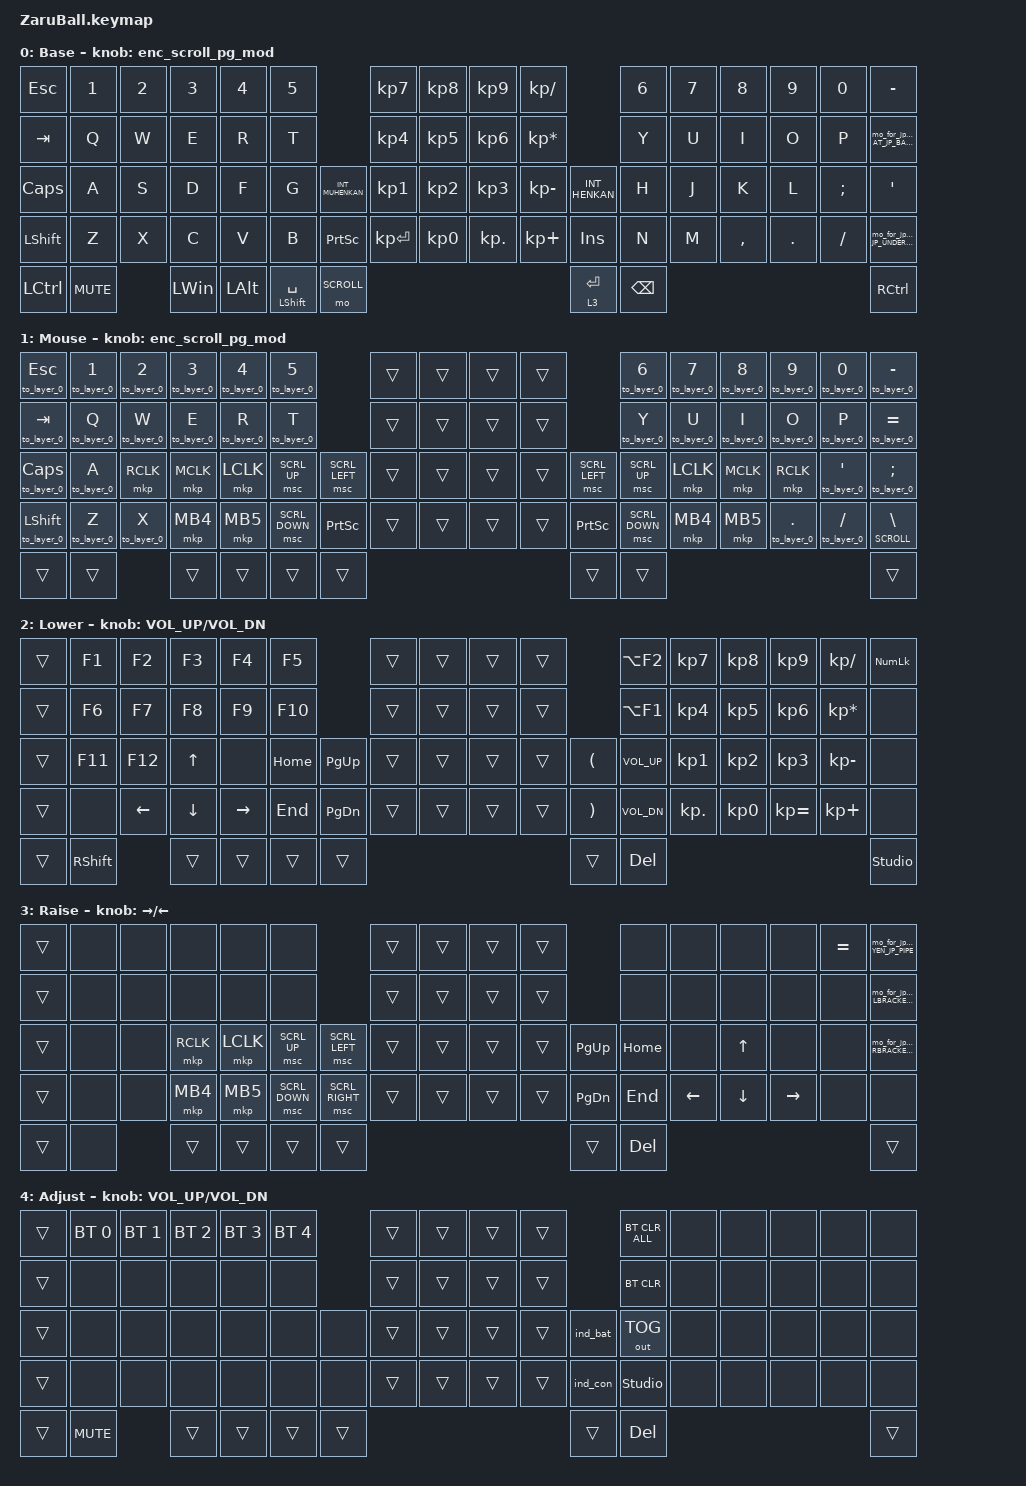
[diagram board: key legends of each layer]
//#include <dt-bindings/zmk/mouse.h>

#include <behaviors/rgbled_widget.dtsi>
#include <input/processors.dtsi>
#include <dt-bindings/zmk/input_transform.h>
#include <behaviors.dtsi>
#include <dt-bindings/zmk/bt.h>
#include <dt-bindings/zmk/keys.h>
#include <dt-bindings/zmk/outputs.h>
#include <dt-bindings/zmk/pointing.h>

#define BASE     0
#define MOUSE    1
#define LOWER    2
#define RAISE    3
#define ADJUST   4
#define SCROLL   2

// https://note.com/kloir_z/n/n314e739f03a1よりコピペ
// OS設定を日本語キーボードのまま使用するための変換定義

#define JP_DQUOTE       AT                // "
#define JP_AMPERSAND    CARET             // &
#define JP_QUOTE        AMPERSAND         // '
#define JP_EQUAL        UNDER             // =
#define JP_CARET        EQUAL             // ^
#define JP_YEN          INT_YEN           // ¥
#define JP_PLUS         COLON             // +
#define JP_TILDE        PLUS              // ~
#define JP_PIPE         LS(INT_YEN)       // |
#define JP_AT           LEFT_BRACKET      // @
#define JP_COLON        SINGLE_QUOTE      // :
#define JP_ASTERISK     DOUBLE_QUOTES     // *
#define JP_BACKQUOTE    LEFT_BRACE        // `
#define JP_UNDERSCORE   UNDERSCORE        // _
#define JP_LBRACKET     RIGHT_BRACKET     // [
#define JP_RBRACKET     BACKSLASH         // ]
#define JP_LPAREN       ASTERISK          // (
#define JP_RPAREN       LEFT_PARENTHESIS  // )
#define JP_LBRACE       RIGHT_BRACE       // {
#define JP_RBRACE       PIPE              // }
#define JP_KANA         LANGUAGE_1        // かな
#define JP_EISU         LANGUAGE_2        // 英数
#define JP_HANZEN       GRAVE             // 半角/全角

// コピペここまで
// スクロール量の設定

#define ZMK_POINTING_DEFAULT_SCRL_VAL 100

&trackball_listener {
    input-processors = <
                         &zip_xy_transform (INPUT_TRANSFORM_XY_SWAP | INPUT_TRANSFORM_Y_INVERT | INPUT_TRANSFORM_X_INVERT)
                         &zip_xy_scaler 2 1
                         &zip_temp_layer MOUSE 500
    >;

    scroller {
        layers = <SCROLL>;
        input-processors = <
                            &zip_xy_transform (INPUT_TRANSFORM_XY_SWAP | INPUT_TRANSFORM_X_INVERT)
                            &zip_xy_scaler 1 20
                            &zip_xy_to_scroll_mapper
        >;
    };
};

/ {
    conditional_layers {
        compatible = "zmk,conditional-layers";

        tri_layer {
            if-layers = <2 3>;
            then-layer = <4>;
        };
    };
};

/ {
    behaviors {
        // スクロール用のbehaviorの設定

        scroll_down_up: behavior_sensor_rotate_mouse_wheel_down_up {
            compatible = "zmk,behavior-sensor-rotate";
            #sensor-binding-cells = <0>;
            bindings = <&msc SCRL_DOWN>, <&msc SCRL_UP>;

            tap-ms = <20>; // スクロールのタップ時間
        };

        td0: tap_dance_0 {
            compatible = "zmk,behavior-tap-dance";
            #binding-cells = <0>;
            tapping-term-ms = <200>;
            bindings = <&mt LALT LANG2>, <&mo RAISE>, <&mo MOUSE>;
        };

        td1: tap_dance_1 {
            compatible = "zmk,behavior-tap-dance";
            #binding-cells = <0>;
            tapping-term-ms = <200>;
            bindings = <&mt RCTL LANG1>, <&mo RAISE>, <&mo MOUSE>;
        };

        // Customed Hold-Tap for SandS

        SandS: SandS {
            compatible = "zmk,behavior-hold-tap";
            #binding-cells = <2>;
            flavor = "tap-unless-interrupted";
            tapping-term-ms = <500>;
            quick-tap-ms = <500>;
            bindings = <&kp>, <&kp>;

            display-name = "SandS";
        };

        td_LCTL_LCTL_LY2_LY5: tap_dance_LCTL_LCTL_LY2_LY5 {
            compatible = "zmk,behavior-tap-dance";
            #binding-cells = <0>;
            tapping-term-ms = <200>;
            bindings = <&mt LCTRL LCTRL>, <&mo RAISE>, <&mo 5>;

            label = "TAP_DANCE_LCTL_LCTL_LY2_LY45";
        };

        td_RCTL_RCTL_LY2_LY4: tap_dance_RCTL_.RCTL_LY2_LY4 {
            compatible = "zmk,behavior-tap-dance";
            #binding-cells = <0>;
            tapping-term-ms = <200>;
            bindings = <&mt RCTRL RCTRL>, <&mo RAISE>, <&mo MOUSE>;

            label = "TAP_DANCE_RCTL_RCTL_LY2_LY4";
        };

        mo_for_jp__JP_AT_JP_BACKQUOTE: mod-morph-for-jp--jp-at-jp-backquote {
            compatible = "zmk,behavior-mod-morph";
            #binding-cells = <0>;
            bindings = <&kp LEFT_BRACKET>, <&kp LEFT_BRACE>;

            mods = <(MOD_LSFT|MOD_RSFT)>;
            label = "MOD-MORPH_for_jp__JP_AT-JP_BACKQUOTE";
        };

        mo_for_jp__JP_YEN_JP_PIPE: mod-morph-for-jp--jp-yen-jp-pipe {
            compatible = "zmk,behavior-mod-morph";
            #binding-cells = <0>;
            bindings = <&kp INT_YEN>, <&kp LS(INT_YEN)>;

            mods = <(MOD_LSFT|MOD_RSFT)>;
            label = "MOD-MORPH_for_jp__JP_YEN-JP_PIPE";
        };

        mo_for_jp__JP_LBRACKET_JP_LBRACE: mod-morph-for-jp--jp-lbracket-jp-lbrace {
            compatible = "zmk,behavior-mod-morph";
            #binding-cells = <0>;
            bindings = <&kp RIGHT_BRACKET>, <&kp RIGHT_BRACE>;

            mods = <(MOD_LSFT|MOD_RSFT)>;
            label = "MOD-MORPH_for_jp__JP_LBRACKET-JP_LBRACE";
        };

        mo_for_jp__JP_RBRACKET_JP_RBRACE: mod-morph-for-jp--jp-rbracket-jp-rbrace {
            compatible = "zmk,behavior-mod-morph";
            #binding-cells = <0>;
            bindings = <&kp BACKSLASH>, <&kp PIPE>;

            mods = <(MOD_LSFT|MOD_RSFT)>;
            label = "MOD-MORPH_for_jp__JP_RBRACKET-JP_RBRACE";
        };

        mo_for_jp__JP_YEN_JP_UNDERSCORE: mo-for-jp--jp-yen-jp-underscore {
            compatible = "zmk,behavior-mod-morph";
            #binding-cells = <0>;
            bindings = <&kp INT_YEN>, <&kp INT_RO>;

            mods = <(MOD_LSFT|MOD_RSFT)>;
            keep-mods = <(MOD_LSFT|MOD_RSFT)>;
            label = "MOD-MORPH_for_jp__JP_YEN-JP_UNDERSCORE";
        };

        // ----- ノブ回転 -----
        // 正方向（CW: 上方向）の処理チェーン
        // Ctrl + ノブ回転 → Ctrl+PageUp

        enc_cw_ctrl: encoder-cw-ctrl {
            compatible = "zmk,behavior-mod-morph";
            #binding-cells = <0>;

            // デフォルト: スクロールアップ
            // Ctrl 押しながら回転: Ctrl + PageUp

            bindings = <&msc SCRL_UP>, <&kp LC(PG_UP)>;

            mods = <(MOD_LCTL | MOD_RCTL)>;
        };

        // Alt + ノブ回転 → Alt+Tab

        enc_cw_alt: encoder-cw-alt {
            compatible = "zmk,behavior-mod-morph";
            #binding-cells = <0>;

            // 通常: enc_cw_ctrl（スクロール or Ctrl+PgUp）
            // Alt 押しながら: Alt+Tab

            bindings = <&enc_cw_ctrl>, <&kp LA(TAB)>;

            mods = <(MOD_LALT | MOD_RALT)>;
            keep-mods = <(MOD_LALT | MOD_RALT)>;
        };

        // Win + ノブ回転 → Win+Ctrl+→ / Win+Ctrl+←
        enc_cw_gui: encoder-cw-gui {
            compatible = "zmk,behavior-mod-morph";
            #binding-cells = <0>;
            // 通常: enc_cw_alt（スクロール / Ctrl+PgUp / Alt+Tab）
            // Win 押しながら: Win+Ctrl+→
            bindings = <&enc_cw_alt>, <&kp LG(LC(RIGHT))>;
            mods = <(MOD_LGUI | MOD_RGUI)>;
            keep-mods = <(MOD_LGUI | MOD_RGUI)>;
        };

        // 負方向（CCW: 下方向）の処理チェーン
        // Ctrl + ノブ回転 → Ctrl+PageDown

        enc_ccw_ctrl: encoder-ccw-ctrl {
            compatible = "zmk,behavior-mod-morph";
            #binding-cells = <0>;

            // デフォルト: スクロールダウン
            // Ctrl 押しながら回転: Ctrl + PageDown

            bindings = <&msc SCRL_DOWN>, <&kp LC(PG_DN)>;

            mods = <(MOD_LCTL | MOD_RCTL)>;
        };

        // Alt + ノブ回転 → Alt+Shift+Tab

        enc_ccw_alt: encoder-ccw-alt {
            compatible = "zmk,behavior-mod-morph";
            #binding-cells = <0>;

            // 通常: enc_ccw_ctrl（スクロール or Ctrl+PgDn）
            // Alt 押しながら: Alt+Shift+Tab

            bindings = <&enc_ccw_ctrl>, <&kp LA(LS(TAB))>;

            mods = <(MOD_LALT | MOD_RALT)>;
            keep-mods = <(MOD_LALT | MOD_RALT)>;
        };

        // Win + ノブ回転 → Win+Ctrl+←
        enc_ccw_gui: encoder-ccw-gui {
            compatible = "zmk,behavior-mod-morph";
            #binding-cells = <0>;
            // 通常: enc_ccw_alt（スクロール / Ctrl+PgDn / Alt+Shift+Tab）
            // Win 押しながら: Win+Ctrl+←
            bindings = <&enc_ccw_alt>, <&kp LG(LC(LEFT))>;
            mods = <(MOD_LGUI | MOD_RGUI)>;
            keep-mods = <(MOD_LGUI | MOD_RGUI)>;
        };

        // エンコーダ本体に割り当てる behavior-sensor-rotate　
        enc_scroll_pg_mod: encoder-scroll-pg-mod {
            compatible = "zmk,behavior-sensor-rotate";
            #sensor-binding-cells = <0>;

            // CCW（左回し）→ enc_ccw_gui,  CW（右回し）→ enc_cw_gui
            bindings = <&enc_ccw_gui>,<&enc_cw_gui>;
            tap-ms = <20>;
        };
    };
};

&sl { release-after-ms = <250>; }; // time needed for double click (for mkp_exit_AML)
/ {
    macros {
        // When in AML, move to default layer when key (except mouse button) pressed

        to_layer_0: to_layer_0 {
            compatible = "zmk,behavior-macro-one-param";
            #binding-cells = <1>;
            bindings = <&tog MOUSE &macro_param_1to1 &kp MACRO_PLACEHOLDER>;
            label = "TO_layer_0";
        };

        // When LCLK pressed, exit AML (after 250ms cause by sticky layer

        mkp_exit_AML: mkp_exit_AML {
            compatible = "zmk,behavior-macro-one-param";
            #binding-cells = <1>;
            bindings =
                <&macro_press>,
                <&macro_param_1to1 &mkp MACRO_PLACEHOLDER>,
                <&macro_pause_for_release>,
                <&macro_release>,
                <&macro_param_1to1 &mkp MACRO_PLACEHOLDER>,
                <&macro_tap>,
                <&sl MOUSE>;

            label = "MKP_EXIT_AML";
        };
    };
};

/ {
    combos {
        compatible = "zmk,combos";

        toADJUST_LAYER {
            bindings = <&mo 4>;
            key-positions = <70 73>;
        };

        toMOUSE_LAYER {
            bindings = <&mo 1>;
            key-positions = <73 74>;
        };
    };

    keymap {
        compatible = "zmk,keymap";

        base_layer {
            display-name = "Base";
            sensor-bindings = <&enc_scroll_pg_mod>;
            bindings = <
&kp ESC    &kp N1      &kp N2  &kp N3    &kp N4        &kp N5                                  &kp KP_N7     &kp KP_N8  &kp KP_N9   &kp KP_DIVIDE                      &kp NUMBER_6  &kp N7  &kp N8     &kp N9   &kp N0    &kp MINUS
&kp TAB    &kp Q       &kp W   &kp E     &kp R         &kp T                                   &kp KP_N4     &kp KP_N5  &kp KP_N6   &kp KP_MULTIPLY                    &kp Y         &kp U   &kp I      &kp O    &kp P     &mo_for_jp__JP_AT_JP_BACKQUOTE
&kp CAPS   &kp A       &kp S   &kp D     &kp F         &kp G               &kp INT_MUHENKAN    &kp KP_N1     &kp KP_N2  &kp KP_N3   &kp KP_MINUS       &kp INT_HENKAN  &kp H         &kp J   &kp K      &kp L    &kp SEMI  &kp SQT
&kp LSHFT  &kp Z       &kp X   &kp C     &kp V         &kp B               &kp PRINTSCREEN     &kp KP_ENTER  &kp KP_N0  &kp KP_DOT  &kp KP_PLUS        &kp INSERT      &kp N         &kp M   &kp COMMA  &kp DOT  &kp FSLH  &mo_for_jp__JP_YEN_JP_UNDERSCORE
&kp LCTRL  &kp C_MUTE          &kp LWIN  &kp LEFT_ALT  &SandS LSHFT SPACE  &mo SCROLL                                                                  &lt 3 RET       &kp BSPC                                            &kp RCTRL
            >;
        };

        mouse_layer {
            display-name = "Mouse";
            sensor-bindings = <&enc_scroll_pg_mod>;
            bindings = <
&to_layer_0 ESC     &to_layer_0 N1  &to_layer_0 N2  &to_layer_0 N3  &to_layer_0 N4  &to_layer_0 N5                     &trans  &trans  &trans  &trans                     &to_layer_0 N6  &to_layer_0 N7  &to_layer_0 N8  &to_layer_0 N9      &to_layer_0 N0            &to_layer_0 MINUS
&to_layer_0 TAB     &to_layer_0 Q   &to_layer_0 W   &to_layer_0 E   &to_layer_0 R   &to_layer_0 T                      &trans  &trans  &trans  &trans                     &to_layer_0 Y   &to_layer_0 U   &to_layer_0 I   &to_layer_0 O       &to_layer_0 P             &to_layer_0 EQUAL
&to_layer_0 CAPS    &to_layer_0 A   &mkp RCLK       &mkp MCLK       &mkp LCLK       &msc SCRL_UP    &msc SCRL_LEFT     &trans  &trans  &trans  &trans    &msc SCRL_LEFT   &msc SCRL_UP    &mkp LCLK       &mkp MCLK       &mkp RCLK           &to_layer_0 SINGLE_QUOTE  &to_layer_0 SEMICOLON
&to_layer_0 LSHIFT  &to_layer_0 Z   &to_layer_0 X   &mkp MB4        &mkp MB5        &msc SCRL_DOWN  &kp PRINTSCREEN    &trans  &trans  &trans  &trans    &kp PRINTSCREEN  &msc SCRL_DOWN  &mkp MB4        &mkp MB5        &to_layer_0 PERIOD  &to_layer_0 SLASH         &lt SCROLL BACKSLASH
&trans              &trans                          &trans          &trans          &trans          &trans                                               &trans           &trans                                                                                        &trans
            >;
        };

        lower_layer {
            display-name = "Lower";
            sensor-bindings = <&inc_dec_kp C_VOL_UP C_VOL_DN>;
            bindings = <
&trans  &kp F1     &kp F2    &kp F3    &kp F4     &kp F5                 &trans  &trans  &trans  &trans              &kp LA(F2)    &kp KP_N7   &kp KP_N8  &kp KP_N9     &kp KP_SLASH     &kp KP_NUMLOCK
&trans  &kp F6     &kp F7    &kp F8    &kp F9     &kp F10                &trans  &trans  &trans  &trans              &kp LA(F1)    &kp KP_N4   &kp KP_N5  &kp KP_N6     &kp KP_MULTIPLY  &none
&trans  &kp F11    &kp F12   &kp UP    &none      &kp HOME  &kp PG_UP    &trans  &trans  &trans  &trans    &kp LPAR  &kp C_VOL_UP  &kp KP_N1   &kp KP_N2  &kp KP_N3     &kp KP_MINUS     &none
&trans  &none      &kp LEFT  &kp DOWN  &kp RIGHT  &kp END   &kp PG_DN    &trans  &trans  &trans  &trans    &kp RPAR  &kp C_VOL_DN  &kp KP_DOT  &kp KP_N0  &kp KP_EQUAL  &kp KP_PLUS      &none
&trans  &kp RSHFT            &trans    &trans     &trans    &trans                                         &trans    &kp DEL                                                             &studio_unlock
            >;
        };

        raise_layer {
            display-name = "Raise";
            sensor-bindings = <&inc_dec_kp RIGHT LEFT>;
            bindings = <
&trans  &none  &none  &none      &none      &none                              &trans  &trans  &trans  &trans               &none     &none     &none     &none      &kp EQUAL  &mo_for_jp__JP_YEN_JP_PIPE
&trans  &none  &none  &none      &none      &none                              &trans  &trans  &trans  &trans               &none     &none     &none     &none      &none      &mo_for_jp__JP_LBRACKET_JP_LBRACE
&trans  &none  &none  &mkp RCLK  &mkp LCLK  &msc SCRL_UP    &msc SCRL_LEFT     &trans  &trans  &trans  &trans    &kp PG_UP  &kp HOME  &none     &kp UP    &none      &none      &mo_for_jp__JP_RBRACKET_JP_RBRACE
&trans  &none  &none  &mkp MB4   &mkp MB5   &msc SCRL_DOWN  &msc SCRL_RIGHT    &trans  &trans  &trans  &trans    &kp PG_DN  &kp END   &kp LEFT  &kp DOWN  &kp RIGHT  &none      &none
&trans  &none         &trans     &trans     &trans          &trans                                               &trans     &kp DEL                                             &trans
            >;
        };

        adjust_layer {
            display-name = "Adjust";
            sensor-bindings = <&inc_dec_kp C_VOL_UP C_VOL_DN>;
            bindings = <
&trans  &bt BT_SEL 0  &bt BT_SEL 1  &bt BT_SEL 2  &bt BT_SEL 3  &bt BT_SEL 4            &trans  &trans  &trans  &trans              &bt BT_CLR_ALL  &none  &none  &none  &none  &none
&trans  &none         &none         &none         &none         &none                   &trans  &trans  &trans  &trans              &bt BT_CLR      &none  &none  &none  &none  &none
&trans  &none         &none         &none         &none         &none         &none     &trans  &trans  &trans  &trans    &ind_bat  &out OUT_TOG    &none  &none  &none  &none  &none
&trans  &none         &none         &none         &none         &none         &none     &trans  &trans  &trans  &trans    &ind_con  &studio_unlock  &none  &none  &none  &none  &none
&trans  &kp C_MUTE                  &trans        &trans        &trans        &trans                                      &trans    &kp DEL                                     &trans
            >;
        };

        // Extra layer can be added in ZMK STUDIO

        extra1 { status = "reserved"; };

        extra2 { status = "reserved"; };
    };
};
